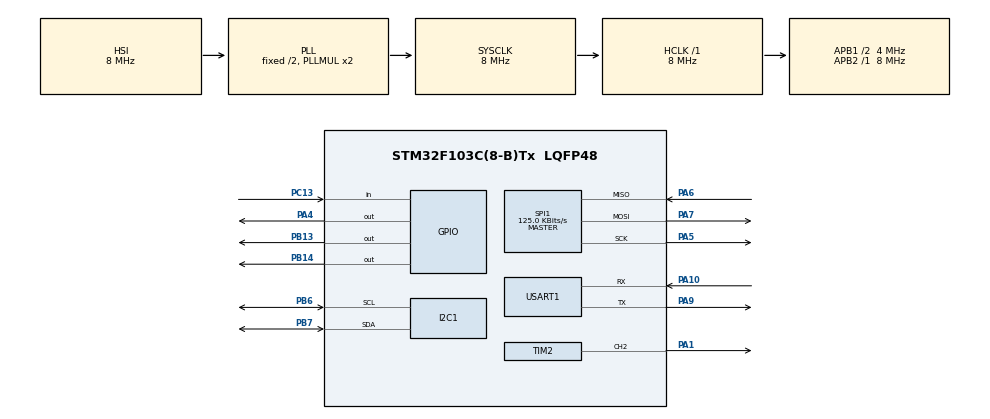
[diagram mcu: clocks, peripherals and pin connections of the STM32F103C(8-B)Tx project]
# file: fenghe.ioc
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Mcu.Family=STM32F1
Mcu.Name=STM32F103C(8-B)Tx
Mcu.Package=LQFP48
NVIC.PriorityGroup=NVIC_PRIORITYGROUP_4
NVIC.TIM2_IRQn=true\:2\:0\:true\:false\:true\:true\:true
NVIC.USART1_IRQn=true\:1\:0\:true\:false\:true\:true\:true
PA1.Signal=S_TIM2_CH2
PA10.Mode=Asynchronous
PA10.Signal=USART1_RX
PA4.PinState=GPIO_PIN_SET
PA4.Signal=GPIO_Output
PA5.Mode=Full_Duplex_Master
PA5.Signal=SPI1_SCK
PA6.Mode=Full_Duplex_Master
PA6.Signal=SPI1_MISO
PA7.Mode=Full_Duplex_Master
PA7.Signal=SPI1_MOSI
PA9.Mode=Asynchronous
PA9.Signal=USART1_TX
PB13.Signal=GPIO_Output
PB14.Signal=GPIO_Output
PB6.Mode=I2C
PB6.Signal=I2C1_SCL
PB7.Mode=I2C
PB7.Signal=I2C1_SDA
PC13-TAMPER-RTC.Signal=GPIO_Input
ProjectManager.HeapSize=0x200
ProjectManager.StackSize=0x400
ProjectManager.TargetToolchain=MDK-ARM V5.32
RCC.AHBFreq_Value=8000000
RCC.APB1CLKDivider=RCC_HCLK_DIV2
RCC.APB1Freq_Value=4000000
RCC.APB1TimFreq_Value=8000000
RCC.APB2Freq_Value=8000000
RCC.APB2TimFreq_Value=8000000
RCC.HCLKFreq_Value=8000000
RCC.SYSCLKFreq_VALUE=8000000
RCC.SYSCLKSource=RCC_SYSCLKSOURCE_PLLCLK
RCC.USBFreq_Value=8000000
SH.S_TIM2_CH2.0=TIM2_CH2,PWM Generation2 CH2
SPI1.BaudRatePrescaler=SPI_BAUDRATEPRESCALER_64
SPI1.CalculateBaudRate=125.0 KBits/s
SPI1.Direction=SPI_DIRECTION_2LINES
SPI1.Mode=SPI_MODE_MASTER
SPI1.VirtualType=VM_MASTER
TIM2.AutoReloadPreload=TIM_AUTORELOAD_PRELOAD_ENABLE
TIM2.Channel-PWM\ Generation2\ CH2=TIM_CHANNEL_2
TIM2.Period=200-1
TIM2.Prescaler=80-1
USART1.VirtualMode=VM_ASYNC
VP_SYS_VS_ND.Mode=No_Debug
VP_TIM2_VS_ClockSourceINT.Mode=Internal
board=custom

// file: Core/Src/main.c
/* USER CODE BEGIN Header */
/**
  ******************************************************************************
  * @file           : main.c
  * @brief          : Main program body
  ******************************************************************************
  * @attention
  *
  * Copyright (c) 2021 STMicroelectronics.
  * All rights reserved.
  *
  * This software is licensed under terms that can be found in the LICENSE file
  * in the root directory of this software component.
  * If no LICENSE file comes with this software, it is provided AS-IS.
  *
  ******************************************************************************
  */
/* USER CODE END Header */
#include "main.h"
#include "i2c.h"
#include "spi.h"
#include "tim.h"
#include "usart.h"
#include "gpio.h"

/* USER CODE BEGIN Includes */
#include "MyPrintf.h"
#include "Max31855.h"
#include "ads1115.h"
#include "math.h"
/* USER CODE END Includes */

void SystemClock_Config(void);

/* USER CODE BEGIN 0 */
static uint8_t flag=0;
static uint8_t counter=0;
int len=1;
int i=1;
uint8_t p;
uint8_t data[32];
void HAL_UART_RxCpltCallback(UART_HandleTypeDef *huart)
{
	if(huart==&huart1){
		if(p>='A'&&p<='Z'){
			data[len]=p;
			len++;
		}
		if(len==32){
			len=1;
		}
		HAL_UART_Receive_IT(&huart1,&p,1);
	}
}
/* USER CODE END 0 */

int main(void)
{

  /* MCU Configuration--------------------------------------------------------*/

  /* Reset of all peripherals, Initializes the Flash interface and the Systick. */
  HAL_Init();

  /* USER CODE BEGIN Init */
	double val=0;
	double val1=0;
	double resistance=0;
	double temp=0;
  /* USER CODE END Init */

  /* Configure the system clock */
  SystemClock_Config();

  /* Initialize all configured peripherals */
  MX_GPIO_Init();
  MX_USART1_UART_Init();
  MX_SPI1_Init();
  MX_I2C1_Init();
  MX_TIM2_Init();
  /* USER CODE BEGIN 2 */
	HAL_UART_Receive_IT(&huart1,&p,1);
	HAL_TIM_Base_Start_IT(&htim2);
	HAL_TIM_PWM_Start_IT(&htim2,TIM_CHANNEL_2);
	HAL_Delay(100);
  /* USER CODE END 2 */

  /* Infinite loop */
  while (1)
  {

    /* USER CODE BEGIN 3 */
		if(data[len-1]=='T'){
			temp=returnTemp();
			if(counter<=0){
				flag=0;
			}
			else if(counter>=199){
				flag=1;
			}
			if(flag){
				counter-=temp/1.5;
			}
			else{
				counter+=temp/1.5;
			}
			TIM2->CCR2=counter;
			Max31855GetTemp();
		}
		else if(data[len-1]=='A'){
			HAL_GPIO_WritePin(GPIOB,GPIO_PIN_13,GPIO_PIN_SET);
			HAL_GPIO_WritePin(GPIOB,GPIO_PIN_14,GPIO_PIN_SET);
			val=ads1115_get_voltage_val(hi2c1,0x01,CONFIG_REG_H,CONFIG_REG_L);
			val=val/0.03;
			if(val<0)val=-val;
			//MyPrintf("Val is %f\r\n",val);
			//MyPrintf("t2.txt=%fA\xff\xff\xff",val);
			MyPrintf("t2.txt=\"%fA\"\xff\xff\xff",val);
		}
		else if(data[len-1]=='R'){
			HAL_GPIO_WritePin(GPIOB,GPIO_PIN_13,GPIO_PIN_RESET);
			HAL_GPIO_WritePin(GPIOB,GPIO_PIN_14,GPIO_PIN_RESET);
			val=ads1115_get_voltage_val(hi2c1,0x01,CONFIG_REG_H,CONFIG_REG_L);
			val1=ads1115_get_voltage_val(hi2c1,0x01,CONFIG_REG_V,CONFIG_REG_L);
			if(val<0)val=-val;
			resistance=(10000/(val1-val))*val;
			if(resistance<0)resistance=-resistance;
			//MyPrintf("Val is %f\r\n",resistance);
			//MyPrintf("Val is %f\r\n",val);
			//MyPrintf("Val1 is %f\r\n",val1);
			MyPrintf("t2.txt=\"%f次\"\xff\xff\xff",resistance);
		}
		HAL_Delay(200);
  }
  /* USER CODE END 3 */
}

void SystemClock_Config(void)
{
  RCC_OscInitTypeDef RCC_OscInitStruct = {0};
  RCC_ClkInitTypeDef RCC_ClkInitStruct = {0};

  /** Initializes the RCC Oscillators according to the specified parameters
  * in the RCC_OscInitTypeDef structure.
  */
  RCC_OscInitStruct.OscillatorType = RCC_OSCILLATORTYPE_HSI;
  RCC_OscInitStruct.HSIState = RCC_HSI_ON;
  RCC_OscInitStruct.HSICalibrationValue = RCC_HSICALIBRATION_DEFAULT;
  RCC_OscInitStruct.PLL.PLLState = RCC_PLL_ON;
  RCC_OscInitStruct.PLL.PLLSource = RCC_PLLSOURCE_HSI_DIV2;
  RCC_OscInitStruct.PLL.PLLMUL = RCC_PLL_MUL2;
  if (HAL_RCC_OscConfig(&RCC_OscInitStruct) != HAL_OK)
  {
    Error_Handler();
  }
  /** Initializes the CPU, AHB and APB buses clocks
  */
  RCC_ClkInitStruct.ClockType = RCC_CLOCKTYPE_HCLK|RCC_CLOCKTYPE_SYSCLK
                              |RCC_CLOCKTYPE_PCLK1|RCC_CLOCKTYPE_PCLK2;
  RCC_ClkInitStruct.SYSCLKSource = RCC_SYSCLKSOURCE_PLLCLK;
  RCC_ClkInitStruct.AHBCLKDivider = RCC_SYSCLK_DIV1;
  RCC_ClkInitStruct.APB1CLKDivider = RCC_HCLK_DIV2;
  RCC_ClkInitStruct.APB2CLKDivider = RCC_HCLK_DIV1;

  if (HAL_RCC_ClockConfig(&RCC_ClkInitStruct, FLASH_LATENCY_0) != HAL_OK)
  {
    Error_Handler();
  }
}

void Error_Handler(void)
{
  __disable_irq();
  while (1)
  {
  }
}
